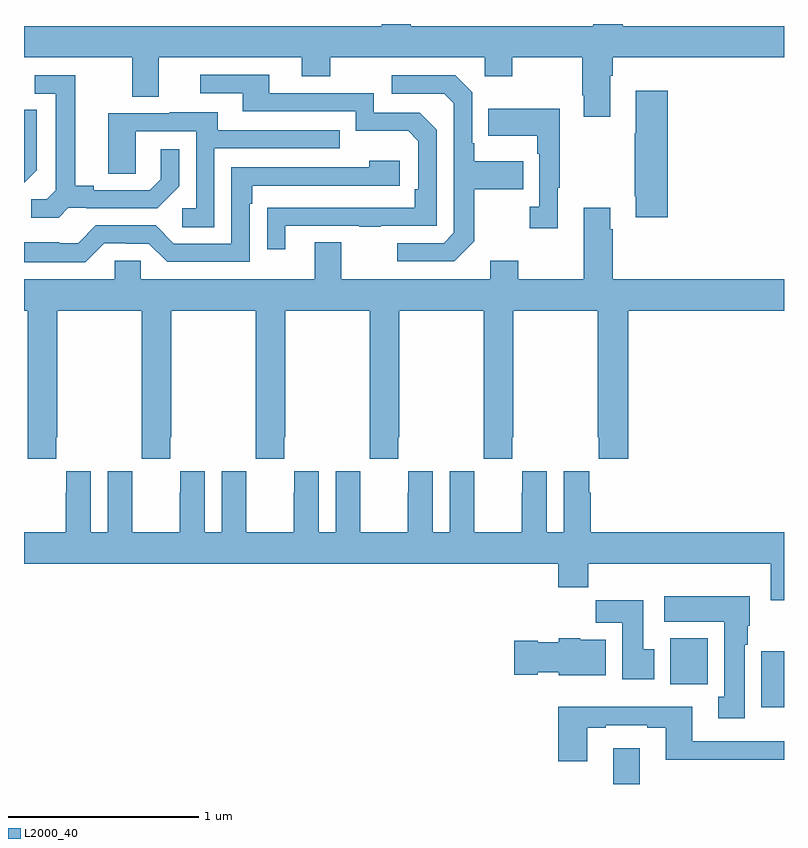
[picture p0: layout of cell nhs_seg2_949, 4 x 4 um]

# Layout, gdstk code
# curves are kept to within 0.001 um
import gdstk
lib = gdstk.Library(unit=1e-6, precision=1e-09)
def R(c, l, rs):  # rectangles x0, y0, x1, y1
    for r in rs: c.add(gdstk.rectangle(r[:2], r[2:], *l))
def P(c, l, *ps):  # polygons
    for p in ps: c.add(gdstk.Polygon(p, *l))
L2000_40 = (2000, 40)

nhs_seg2_949 = lib.new_cell('nhs_seg2_949')
R(nhs_seg2_949, L2000_40, [(162.101,655.8,162.241,655.987), (162.881,656.204,163,656.5), (162.401,656.324,162.598,656.566)])
P(nhs_seg2_949, L2000_40, [(162.085,659.528),(162.098,659.528),(162.098,659.624),(163,659.624),(163,659.788),(162.152,659.788),(162.152,659.8),(161.995,659.8),(161.995,659.788),(161.035,659.788),(161.035,659.8),(160.883,659.8),(160.883,659.788),(159,659.788),(159,659.624),(159.569,659.624),(159.569,659.416),(159.709,659.416),(159.709,659.624),(160.463,659.624),(160.463,659.525),(160.611,659.525),(160.611,659.624),(161.424,659.624),(161.424,659.525),(161.571,659.525),(161.571,659.624),(161.938,659.624),(161.938,659.425),(161.945,659.425),(161.945,659.313),(162.085,659.313)],
  [(160.375,658.737),(160.765,658.737),(160.765,658.732),(160.877,658.732),(160.877,658.737),(161.172,658.737),(161.172,659.244),(161.082,659.334),(160.842,659.334),(160.842,659.436),(160.291,659.436),(160.291,659.532),(159.927,659.532),(159.927,659.436),(160.151,659.436),(160.151,659.34),(160.746,659.34),(160.746,659.237),(161.023,659.237),(161.076,659.184),(161.076,658.93),(161.056,658.93),(161.056,658.833),(160.279,658.832),(160.279,658.614),(160.375,658.614)],
  [(161.371,658.657),(161.371,658.93),(161.627,658.93),(161.627,659.077),(161.371,659.077),(161.371,659.173),(161.358,659.173),(161.358,659.442),(161.271,659.529),(160.935,659.529),(160.935,659.433),(161.211,659.433),(161.262,659.382),(161.262,658.701),(161.208,658.647),(160.965,658.647),(160.965,658.551),(161.265,658.551)],
  [(159.234,658.833),(159.328,658.833),(159.328,658.83),(159.7,658.83),(159.816,658.946),(159.816,659.14),(159.719,659.14),(159.719,658.983),(159.662,658.926),(159.367,658.926),(159.367,658.949),(159.271,658.949),(159.271,659.529),(159.057,659.529),(159.057,659.433),(159.167,659.433),(159.167,658.925),(159.12,658.878),(159.039,658.878),(159.039,658.781),(159.182,658.781)],
  [(162.389,659.449),(162.221,659.449),(162.221,659.225),(162.214,659.225),(162.214,658.894),(162.221,658.894),(162.221,658.782),(162.389,658.782)],
  [(161.809,658.937),(161.821,658.937),(161.821,659.353),(161.443,659.353),(161.443,659.213),(161.7,659.213),(161.7,659.117),(161.712,659.117),(161.712,658.838),(161.661,658.838),(161.661,658.725),(161.809,658.725)],
  [(159.066,659.03),(159.066,659.348),(159,659.348),(159,658.964)],
  [(160.002,659.145),(160.661,659.145),(160.661,659.241),(160.021,659.241),(160.021,659.335),(159.767,659.335),(159.767,659.331),(159.443,659.331),(159.443,659.011),(159.588,659.011),(159.588,659.235),(159.906,659.235),(159.906,658.83),(159.834,658.83),(159.834,658.729),(160.002,658.729)],
  [(159.423,658.647),(159.539,658.647),(159.539,658.644),(159.657,658.644),(159.753,658.548),(160.188,658.548),(160.188,658.853),(160.201,658.853),(160.201,658.95),(160.978,658.95),(160.978,659.08),(160.817,659.08),(160.817,659.046),(160.092,659.046),(160.092,658.644),(159.789,658.644),(159.693,658.74),(159.378,658.74),(159.285,658.647),(159.185,658.647),(159.185,658.651),(159,658.651),(159,658.547),(159.323,658.547)],
  [(159.171,657.625),(159.174,657.625),(159.174,658.292),(159.619,658.292),(159.619,657.625),(159.621,657.625),(159.621,657.513),(159.771,657.513),(159.771,657.625),(159.774,657.625),(159.774,658.292),(160.219,658.292),(160.219,657.625),(160.221,657.625),(160.221,657.513),(160.371,657.513),(160.371,657.625),(160.374,657.625),(160.374,658.292),(160.819,658.292),(160.819,657.625),(160.821,657.625),(160.821,657.513),(160.971,657.513),(160.971,657.625),(160.974,657.625),(160.974,658.292),(161.419,658.292),(161.419,657.625),(161.421,657.625),(161.421,657.513),(161.571,657.513),(161.571,657.625),(161.574,657.625),(161.574,658.292),(162.019,658.292),(162.019,657.625),(162.025,657.625),(162.025,657.513),(162.179,657.513),(162.179,658.292),(163,658.292),(163,658.456),(162.098,658.456),(162.098,658.721),(162.085,658.721),(162.085,658.834),(161.945,658.834),(161.945,658.456),(161.601,658.456),(161.601,658.555),(161.453,658.555),(161.453,658.456),(160.669,658.456),(160.669,658.651),(160.529,658.651),(160.529,658.456),(159.615,658.456),(159.615,658.554),(159.477,658.554),(159.477,658.456),(159,658.456),(159,658.292),(159.019,658.292),(159.019,657.625),(159.021,657.625),(159.021,657.513),(159.171,657.513)],
  [(161.813,656.836),(161.969,656.836),(161.969,656.96),(162.929,656.96),(162.929,656.766),(163,656.766),(163,657.124),(161.984,657.124),(161.984,657.332),(161.974,657.332),(161.974,657.445),(161.84,657.445),(161.84,657.124),(161.752,657.124),(161.752,657.445),(161.622,657.445),(161.622,657.332),(161.621,657.332),(161.621,657.124),(161.371,657.124),(161.371,657.332),(161.37,657.332),(161.37,657.445),(161.24,657.445),(161.24,657.124),(161.152,657.124),(161.152,657.445),(161.022,657.445),(161.022,657.332),(161.021,657.332),(161.021,657.124),(160.771,657.124),(160.771,657.332),(160.77,657.332),(160.77,657.445),(160.64,657.445),(160.64,657.124),(160.552,657.124),(160.552,657.445),(160.422,657.445),(160.422,657.332),(160.421,657.332),(160.421,657.124),(160.171,657.124),(160.171,657.332),(160.17,657.332),(160.17,657.445),(160.04,657.445),(160.04,657.124),(159.952,657.124),(159.952,657.445),(159.822,657.445),(159.822,657.332),(159.821,657.332),(159.821,657.124),(159.571,657.124),(159.571,657.332),(159.57,657.332),(159.57,657.445),(159.44,657.445),(159.44,657.124),(159.352,657.124),(159.352,657.445),(159.222,657.445),(159.222,657.332),(159.221,657.332),(159.221,657.124),(159,657.124),(159,656.96),(161.813,656.96)],
  [(162.793,656.534),(162.808,656.534),(162.808,656.634),(162.82,656.634),(162.82,656.788),(162.369,656.788),(162.369,656.654),(162.686,656.654),(162.686,656.258),(162.653,656.258),(162.653,656.145),(162.793,656.145)],
  [(162.316,656.508),(162.259,656.508),(162.259,656.767),(162.01,656.767),(162.01,656.648),(162.149,656.648),(162.149,656.352),(162.316,656.352)],
  [(162.061,656.56),(161.928,656.56),(161.928,656.566),(161.814,656.566),(161.814,656.545),(161.703,656.545),(161.703,656.553),(161.58,656.553),(161.58,656.375),(161.703,656.375),(161.703,656.387),(161.814,656.387),(161.814,656.372),(162.061,656.372)],
  [(161.965,656.097),(162.061,656.097),(162.061,656.109),(162.281,656.109),(162.281,656.097),(162.377,656.097),(162.377,655.928),(163,655.928),(163,656.025),(162.517,656.025),(162.517,656.206),(161.813,656.206),(161.813,655.92),(161.965,655.92)])

lib.write_gds('nhs_seg2_949.gds')
